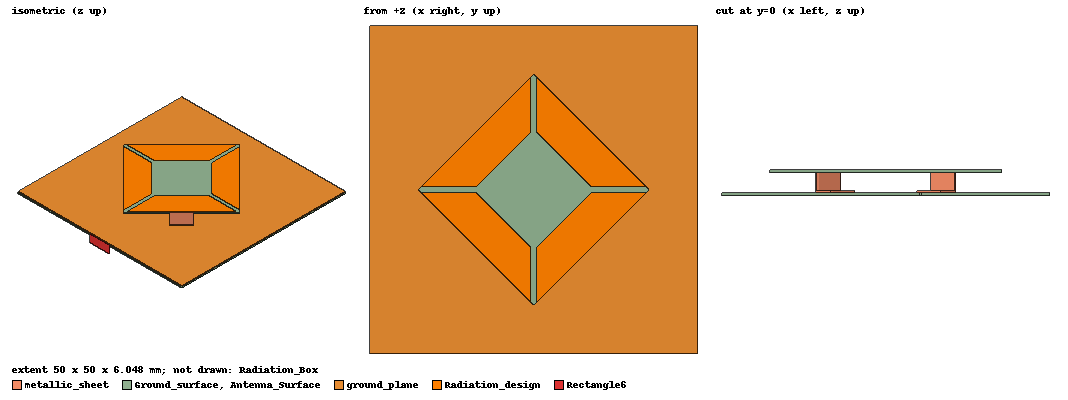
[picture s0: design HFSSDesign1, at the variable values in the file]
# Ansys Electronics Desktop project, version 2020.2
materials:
  vacuum: permittivity=1
  FR4_epoxy: permittivity=4.4 dielectric_loss_tangent=0.02
  air: permittivity=1.0006 permeability=1.0000004
  copper: permeability=0.999991 conductivity=58000000
  alumina_96pct: permittivity=9.4 dielectric_loss_tangent=0.006

design HFSSDesign1 (HFSS, DrivenModal, model units mm)
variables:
  width = 90mm
  air_box_width = 90m
  w = 25mm
  substrate_thickness = 0.508mm
  g = 50mm
  sw = 1.5mm
  sl = 18.35mm
  g2 = 0.91mm
  fl = 30.5mm  # optimise 15.75mm..47.25mm
  fw = 1.56mm
  h = 3mm
  l = 5mm
  ground_via_radius = 0.2mm
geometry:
  Ground_surface [FR4_epoxy] = box(corner=(-g/2, -g/2, 0mm), size=(g, g, substrate_thickness))
  Radiation_design = rectangle(corner=(-12.5mm, -12.5mm, 4.016mm), x_size=w, y_size=w)
  Rectangle2 = rectangle(corner=(-6.5mm, -6.5mm, 4.016mm), x_size=13mm, y_size=13mm)
  Radiation_design.subtract(Rectangle2)
  Radiation_design.rotate(axis=Z, angle=45deg)
  Rectangle3 = rectangle(corner=(-g2/2, -w/sqrt(2), 2*substrate_thickness+h), x_size=g2, y_size=w*sqrt(2))
  Rectangle3.rotate(axis=Z, angle=90deg)
  Rectangle4 = rectangle(corner=(-g2/2, -w/sqrt(2), 2*substrate_thickness+h), x_size=g2, y_size=w*sqrt(2))
  Radiation_design.subtract(Rectangle3, Rectangle4)
  Feed = rectangle(corner=(g/2, -fw/2, 0mm), x_size=-fl, y_size=fw)
  Box3 = box(corner=(-0.5mm, -9.175mm, 0mm), size=(sw, sl, substrate_thickness))
  Ground_surface.subtract(Box3)  # suppressed
  Radiation_Box [air] = box(corner=(-1.5*g, -g, -g), size=(g*2, g*2, g*2))
  Antenna_Surface [FR4_epoxy] = box(corner=(-12.5mm, -12.5mm, 3.508mm), size=(w, w, substrate_thickness))
  Antenna_Surface.rotate(axis=Z, angle=45deg)
  metallic_sheet_1_bottom = box(corner=(w/2-0.3mm-3mm, -l/2, substrate_thickness), size=(h, l, 0.3mm))
  metallic_sheet [copper] = box(corner=(w/2-0.3mm, -l/2, substrate_thickness), size=(0.3mm, l, h+substrate_thickness))
  [metallic_sheet_1_bottom, metallic_sheet].rotate(axis=Z, angle=45deg)
  metallic_sheet.unite(metallic_sheet_1_bottom)
  ground_plane = rectangle(corner=(-g/2, -g/2, substrate_thickness), x_size=g, y_size=g)
  Rectangle5 = rectangle(corner=(-sw/2, -sl/2, substrate_thickness), x_size=sw, y_size=sl)
  ground_plane.subtract(Rectangle5)
  metallic_sheet.duplicate_around_axis(axis=Z, angle=90deg, total=4, attached)
  metallic_sheet_5 = metallic_sheet.copy()
  Antenna_Surface.subtract(metallic_sheet_5)
  Rectangle6 = rectangle(corner=(g/2, -fw*2, substrate_thickness), y_size=fw*4, z_size=-substrate_thickness*5)
  Circle1 = circle(normal=Z, centre=((g/2)-fl+ground_via_radius, 0mm, 0mm), radius=ground_via_radius)
  Circle1.thicken(0.508mm)
  Ground_surface.subtract(Circle1)
  Circle2 [alumina_96pct] = circle(normal=Z, centre=((g/2)-fl+ground_via_radius, 0mm, 0mm), radius=0.15mm)
  Circle2.thicken(0.508mm)
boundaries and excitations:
  PerfE_Feed: Perfect E Objects=Feed
  Radiation_surf: Radiation Faces=Radiation_Box.face(+x, +z, +y, -x, -y)
  PerfE1: Perfect E Objects=ground_plane
  PerfE_antenna: Perfect E Objects=Radiation_design
  1: Wave Port Objects=Rectangle6 NumModes=1 Modes{Mode1{IntLine{middle of Rectangle6.edge(z at corner) -> middle of Feed.edge(x at corner)} CharImp=Zpi RenormImp=50ohm}}
  reference conductors: ground_plane
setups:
  Setup1: HfssDriven Frequency=3.6GHz MaxDeltaS=0.02 MaximumPasses=6 MinimumPasses=1 MinimumConvergedPasses=1 PercentRefinement=30 BasisOrder=1 PortAccuracy=2
    sweep Sweep: 3GHz to 4GHz, 401 points; Type=Interpolating SaveFields InterpTolerance=0.5 InterpMaxSolns=250 InterpUsePortImped=false InterpUsePropConst=false PassivityErrorTolerance=0.0001
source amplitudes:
  1:1: 1W 0deg
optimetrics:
  ParametricSetup1: Parametric Sim._Setups=[Setup1]
    sweep l: LIN 6mm 8mm 1mm
  Cap_gap_setup: Parametric disabled Sim._Setups=[Setup1]
    sweep g2: LIN 0.5mm 1.5mm 0.2mm
  OptimizationSetup1: Optimization disabled Optimizer="Quasi Newton" AnalysisStopOptions{StopForNumIteration MaxNumIteration=1000 MinNumIteration=10} CostFuncNormType=L2 Acceptable_Cost=0 Noise=0.0001 UpdateDesignWhenDone
    vary fl: Min=27mm Max=29mm MinStep=0.315mm MaxStep=3.15mm MinFocus=15.75mm MaxFocus=47.25mm start=29mm
    goal dB(S(1,1)) Minimize 0 weight 1 on Setup1 : Sweep at Freq 3.6GHz
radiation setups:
  Infinite Sphere1: Infinite Sphere Theta=-180deg..180deg step 5deg Phi=0deg..360deg step 5deg
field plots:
  Mag_Jsurf all: Jsurf over metallic_sheet.face(1 of 6, 4 of 6, 1 of 6, 2 of 6, 3 of 6, 4 of 6, 5 of 6, 6 of 6) ground_plane.face(at (0, 0, 0.508)) on Setup1 : Sweep at Freq=3.25GHz Phase=0deg
  Mag_E: E Field over metallic_sheet.face(all 32) ground_plane.face(at (0, 0, 0.508)) on Setup1 : LastAdaptive at Freq=3.6GHz Phase=0deg
  ComplexMag_Jsurf1: Jsurf over ground_plane.face(at (0, 0, 0.508)) on Setup1 : LastAdaptive at Freq=3.6GHz Phase=0deg
  Mag_E1: E Field over Radiation_design.face(all 4) on Setup1 : LastAdaptive at Freq=3.6GHz Phase=0deg
  Mag_J_Antenna_metal: Jsurf over Radiation_design.face(all 4) metallic_sheet.face(all 32) on Setup1 : LastAdaptive at Freq=3.6GHz Phase=0deg
  Mag_Jsurf1: Jsurf over Radiation_design.face(all 4) ground_plane.face(at (0, 0, 0.508)) metallic_sheet.face(all 32) on Setup1 : Sweep at Freq=3.25GHz Phase=0deg
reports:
  S11: dB(S(1,1)) vs Freq on Setup1 : Sweep
  Gain Plot 1: dB(GainTotal) vs Phi, Theta on Setup1 : Sweep, Infinite Sphere1 [Freq=3.25GHz sw=1.5mm sl=18.35mm fl=30.5mm fw=1.56mm l=5mm]
